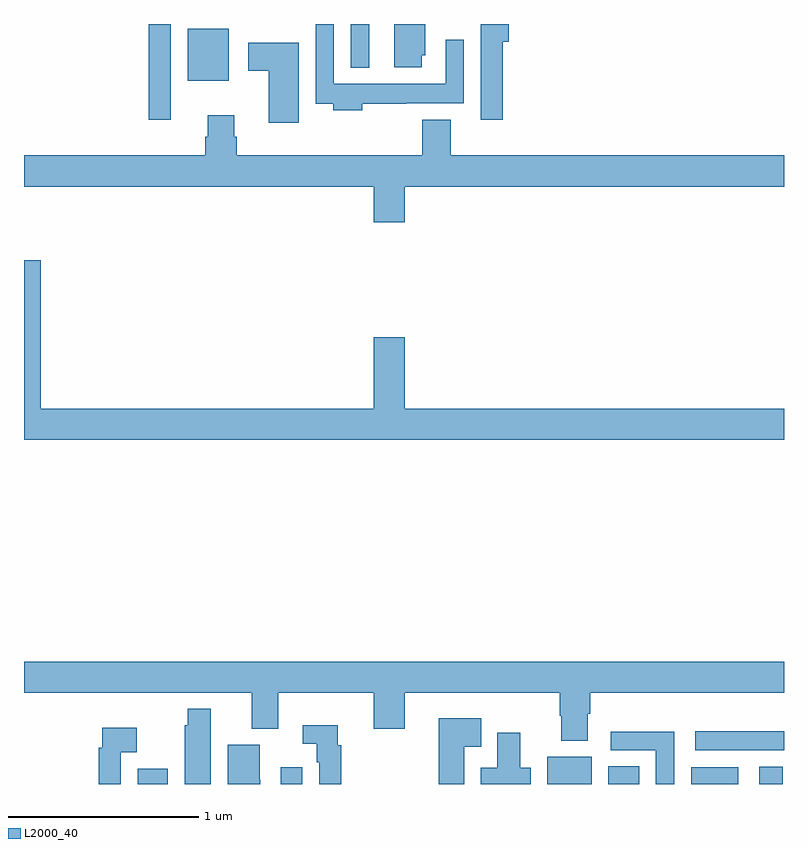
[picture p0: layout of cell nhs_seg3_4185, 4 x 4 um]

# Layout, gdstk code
import gdstk
lib = gdstk.Library(unit=1e-6, precision=1e-09)
def R(c, l, rs):  # rectangles x0, y0, x1, y1
    for r in rs: c.add(gdstk.rectangle(r[:2], r[2:], *l))
def P(c, l, *ps):  # polygons
    for p in ps: c.add(gdstk.Polygon(p, *l))
L2000_40 = (2000, 40)

nhs_seg3_4185 = lib.new_cell('nhs_seg3_4185')
R(nhs_seg3_4185, L2000_40, [(331.598,736.4,331.756,736.48), (332.352,736.4,332.464,736.489), (333.755,736.4,333.988,736.543), (334.076,736.4,334.237,736.493), (334.511,736.4,334.759,736.488), (334.871,736.4,334.993,736.492), (334.533,736.577,335,736.678), (331.657,739.896,331.773,740.4), (331.862,740.102,332.077,740.374), (332.721,740.171,332.818,740.4)])
P(nhs_seg3_4185, L2000_40, [(332.78,739.98),(333.011,739.98),(333.011,739.982),(333.315,739.982),(333.315,740.317),(333.219,740.317),(333.219,740.086),(332.631,740.086),(332.631,740.4),(332.535,740.4),(332.535,739.98),(332.627,739.98),(332.627,739.946),(332.78,739.946)],
  [(333.521,740.306),(333.551,740.306),(333.551,740.4),(333.405,740.4),(333.405,739.896),(333.521,739.896)],
  [(333.094,740.235),(333.112,740.235),(333.112,740.4),(332.948,740.4),(332.948,740.172),(333.094,740.172)],
  [(332.446,740.302),(332.181,740.302),(332.181,740.155),(332.288,740.155),(332.288,739.88),(332.446,739.88)],
  [(333.004,739.544),(335,739.544),(335,739.708),(333.247,739.708),(333.247,739.897),(333.095,739.897),(333.095,739.708),(332.12,739.708),(332.12,739.806),(332.107,739.806),(332.107,739.921),(331.967,739.921),(331.967,739.806),(331.955,739.806),(331.955,739.708),(331,739.708),(331,739.544),(332.84,739.544),(332.84,739.356),(333.004,739.356)],
  [(335,738.376),(333.004,738.376),(333.004,738.751),(332.84,738.751),(332.84,738.376),(331.088,738.376),(331.088,739.156),(331,739.156),(331,738.212),(335,738.212)],
  [(333.967,736.771),(333.98,736.771),(333.98,736.88),(335,736.88),(335,737.044),(331,737.044),(331,736.88),(332.198,736.88),(332.198,736.691),(332.338,736.691),(332.338,736.88),(332.84,736.88),(332.84,736.692),(333.004,736.692),(333.004,736.88),(333.82,736.88),(333.82,736.76),(333.827,736.76),(333.827,736.628),(333.967,736.628)],
  [(331.984,736.795),(331.862,736.795),(331.862,736.71),(331.847,736.71),(331.847,736.4),(331.984,736.4)],
  [(333.316,736.595),(333.406,736.595),(333.406,736.747),(333.182,736.747),(333.182,736.4),(333.316,736.4)],
  [(332.669,736.604),(332.651,736.604),(332.651,736.708),(332.466,736.708),(332.466,736.611),(332.541,736.611),(332.541,736.514),(332.553,736.514),(332.553,736.4),(332.669,736.4)],
  [(331.509,736.568),(331.594,736.568),(331.594,736.696),(331.413,736.696),(331.413,736.592),(331.393,736.592),(331.393,736.4),(331.509,736.4)],
  [(334.422,736.676),(334.089,736.676),(334.089,736.578),(334.326,736.578),(334.326,736.4),(334.422,736.4)],
  [(333.667,736.486),(333.613,736.486),(333.613,736.669),(333.491,736.669),(333.491,736.486),(333.404,736.486),(333.404,736.4),(333.667,736.4)],
  [(332.244,736.422),(332.242,736.422),(332.242,736.606),(332.072,736.606),(332.072,736.4),(332.244,736.4)])

lib.write_gds('nhs_seg3_4185.gds')
